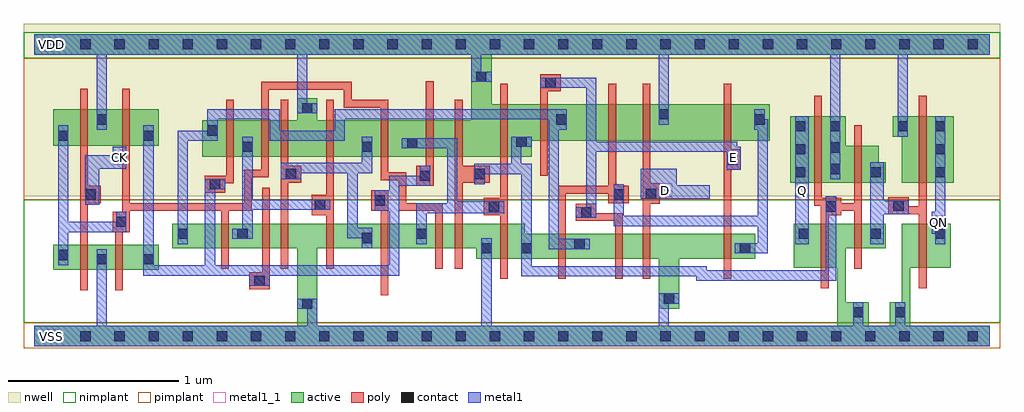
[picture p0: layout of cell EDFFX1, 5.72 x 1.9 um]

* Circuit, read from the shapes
.subckt EDFFX1 CK D E Q QN VDD VSS
M1 VSS CK n1 VSS nfet w=0.145u l=0.045u
M2 n2 n1 VSS VSS nfet w=0.145u l=0.045u
M3 n3 n1 n4 VSS nfet w=0.145u l=0.045u
M4 n5 n2 n3 VSS nfet w=0.145u l=0.045u
M5 VSS n6 n5 VSS nfet w=0.145u l=0.045u
M6 n6 n3 VSS VSS nfet w=0.145u l=0.045u
M7 n7 n2 n6 VSS nfet w=0.145u l=0.045u
M8 n8 n1 n7 VSS nfet w=0.145u l=0.045u
M9 VSS n9 n8 VSS nfet w=0.145u l=0.045u
M10 n9 n7 VSS VSS nfet w=0.205u l=0.045u
M11 n4 n10 n9 VSS nfet w=0.145u l=0.045u
M12 n11 E n4 VSS nfet w=0.145u l=0.045u
M13 VSS D n11 VSS nfet w=0.145u l=0.045u
M14 n10 E VSS VSS nfet w=0.145u l=0.045u
M15 VSS n9 Q VSS nfet w=0.26u l=0.045u
M16 n12 n9 VSS VSS nfet w=0.145u l=0.045u
M17 QN n12 VSS VSS nfet w=0.26u l=0.045u
M18 VDD CK n1 VDD pfet w=0.215u l=0.045u
M19 n2 n1 VDD VDD pfet w=0.215u l=0.045u
M20 n3 n2 n4 VDD pfet w=0.215u l=0.045u
M21 n13 n1 n3 VDD pfet w=0.215u l=0.045u
M22 VDD n6 n13 VDD pfet w=0.215u l=0.045u
M23 n6 n3 VDD VDD pfet w=0.215u l=0.045u
M24 n7 n1 n6 VDD pfet w=0.215u l=0.045u
M25 n14 n2 n7 VDD pfet w=0.215u l=0.045u
M26 VDD n9 n14 VDD pfet w=0.215u l=0.045u
M27 n9 n7 VDD VDD pfet w=0.31u l=0.045u
M28 n4 E n9 VDD pfet w=0.215u l=0.045u
M29 n15 n10 n4 VDD pfet w=0.215u l=0.045u
M30 VDD D n15 VDD pfet w=0.215u l=0.045u
M31 n10 E VDD VDD pfet w=0.215u l=0.045u
M32 VDD n9 Q VDD pfet w=0.39u l=0.045u
M33 n12 n9 VDD VDD pfet w=0.215u l=0.045u
M34 QN n12 VDD VDD pfet w=0.39u l=0.045u
.ends

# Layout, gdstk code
import gdstk
lib = gdstk.Library(unit=1e-6, precision=5e-10)
def R(c, l, rs):  # rectangles x0, y0, x1, y1
    for r in rs: c.add(gdstk.rectangle(r[:2], r[2:], *l))
def A(c, l, x, y, w, h, nx, ny, dx, dy):  # array of equal rectangles
    R(c, l, [(x+i*dx, y+j*dy, x+i*dx+w, y+j*dy+h) for i in range(nx) for j in range(ny)])
def P(c, l, *ps):  # polygons
    for p in ps: c.add(gdstk.Polygon(p, *l))
active = (1, 0)
nwell = (2, 0)
poly = (3, 0)
nimplant = (4, 0)
pimplant = (5, 0)
contact = (6, 0)
metal1 = (7, 0)
metal1_1 = (7, 1)

edffx1 = lib.new_cell('EDFFX1')
R(edffx1, active, [(0.11,0.39,0.73,0.535), (0.11,1.115,0.73,1.33)])
P(edffx1, active, [(0,1.77),(5.6,1.77),(5.6,1.65),(2.68,1.65),(2.68,1.36),(4.31,1.36),(4.31,1.145),(2.915,1.145),(2.915,1.05),(0.985,1.05),(0.985,1.265),(1.54,1.265),(1.54,1.395),(1.66,1.395),(1.66,1.265),(2.56,1.265),(2.56,1.65),(0,1.65)],
  [(5.03,1.29),(5.39,1.29),(5.39,0.9),(5.085,0.9),(5.085,1.17),(5.03,1.17)],
  [(4.43,1.29),(4.755,1.29),(4.755,1.115),(4.95,1.115),(4.95,1.02),(4.99,1.02),(4.99,0.9),(4.43,0.9)],
  [(0.81,0.66),(2.875,0.66),(2.875,0.6),(4.225,0.6),(4.225,0.455),(3.78,0.455),(3.78,0.16),(3.66,0.16),(3.66,0.455),(2.59,0.455),(2.59,0.515),(1.66,0.515),(1.66,0.06),(4.705,0.06),(4.705,0.4),(4.45,0.4),(4.45,0.66),(4.99,0.66),(4.99,0.515),(4.755,0.515),(4.755,0.2),(4.89,0.2),(4.89,0.06),(5.015,0.06),(5.015,0.2),(5.085,0.2),(5.085,0.66),(5.37,0.66),(5.37,0.4),(5.135,0.4),(5.135,0.06),(5.6,0.06),(5.6,-0.06),(0,-0.06),(0,0.06),(1.54,0.06),(1.54,0.515),(0.81,0.515)])
R(edffx1, nwell, [(-0.06,0.82,5.66,1.83)])
P(edffx1, poly, [(0.515,1.45),(0.56,1.45),(0.56,0.78),(1.23,0.78),(1.23,0.975),(1.33,0.975),(1.33,1.49),(1.86,1.49),(1.86,1.385),(2.075,1.385),(2.075,0.96),(2.18,0.96),(2.18,0.78),(2.395,0.78),(2.395,0.395),(2.35,0.395),(2.35,0.735),(2.135,0.735),(2.135,0.915),(2.03,0.915),(2.03,1.34),(1.815,1.34),(1.815,1.445),(1.375,1.445),(1.375,0.93),(1.275,0.93),(1.275,0.735),(1.14,0.735),(1.14,0.395),(1.095,0.395),(1.095,0.735),(0.56,0.735),(0.56,0.61),(0.52,0.61),(0.52,0.27),(0.475,0.27),(0.475,0.61),(0.46,0.61),(0.46,0.73),(0.515,0.73)],
  [(1.125,1.385),(1.17,1.385),(1.17,0.895),(1.12,0.895),(1.12,0.84),(1,0.84),(1,0.94),(1.125,0.94)],
  [(1.445,1.385),(1.49,1.385),(1.49,1),(1.565,1),(1.565,0.9),(1.49,0.9),(1.49,0.395),(1.445,0.395)],
  [(0.27,1.45),(0.315,1.45),(0.315,0.88),(0.39,0.88),(0.39,0.78),(0.315,0.78),(0.315,0.27),(0.27,0.27)],
  [(1.71,1.385),(1.755,1.385),(1.755,0.395),(1.71,0.395),(1.71,0.71),(1.625,0.71),(1.625,0.83),(1.71,0.83)],
  [(2.295,1.495),(2.34,1.495),(2.34,0.88),(2.24,0.88),(2.24,1),(2.295,1)],
  [(2.465,1.385),(2.51,1.385),(2.51,1),(2.67,1),(2.67,0.9),(2.51,0.9),(2.51,0.395),(2.465,0.395)],
  [(2.73,1.48),(2.775,1.48),(2.775,0.335),(2.73,0.335),(2.73,0.71),(2.635,0.71),(2.635,0.81),(2.73,0.81)],
  [(2.965,1.535),(3.085,1.535),(3.085,1.435),(3.01,1.435),(3.01,0.94),(2.965,0.94)],
  [(5.005,0.815),(5.125,0.815),(5.125,0.76),(5.185,0.76),(5.185,1.41),(5.23,1.41),(5.23,0.28),(5.185,0.28),(5.185,0.715),(5.005,0.715)],
  [(1.975,0.855),(2.075,0.855),(2.075,0.24),(2.03,0.24),(2.03,0.735),(1.975,0.735)],
  [(3.365,1.48),(3.41,1.48),(3.41,0.88),(3.485,0.88),(3.485,0.78),(3.365,0.78),(3.365,0.835),(3.115,0.835),(3.115,0.335),(3.07,0.335),(3.07,0.88),(3.365,0.88)],
  [(3.565,1.48),(3.61,1.48),(3.61,0.895),(3.665,0.895),(3.665,0.775),(3.61,0.775),(3.61,0.335),(3.565,0.335)],
  [(4.04,1.48),(4.085,1.48),(4.085,1.095),(4.14,1.095),(4.14,0.975),(4.085,0.975),(4.085,0.335),(4.04,0.335)],
  [(4.57,1.41),(4.615,1.41),(4.615,0.81),(4.73,0.81),(4.73,0.78),(4.805,0.78),(4.805,1.235),(4.85,1.235),(4.85,0.395),(4.805,0.395),(4.805,0.735),(4.73,0.735),(4.73,0.71),(4.655,0.71),(4.655,0.28),(4.61,0.28),(4.61,0.765),(4.57,0.765)],
  [(1.335,0.87),(1.38,0.87),(1.38,0.275),(1.26,0.275),(1.26,0.375),(1.335,0.375)],
  [(3.175,0.775),(3.295,0.775),(3.295,0.72),(3.45,0.72),(3.45,0.335),(3.405,0.335),(3.405,0.675),(3.175,0.675)])
R(edffx1, nimplant, [(-0.06,0.08,5.66,0.8), (-0.06,1.63,5.66,1.78)])
R(edffx1, pimplant, [(-0.06,-0.07,5.66,0.08), (-0.06,0.8,5.66,1.63)])
A(edffx1, contact, 0.07, -0.03, 0.06, 0.06, 28, 2, 0.2, 1.71)
A(edffx1, contact, 4.46, 0.93, 0.06, 0.06, 1, 3, 0, 0.135)
A(edffx1, contact, 5.28, 0.93, 0.06, 0.06, 1, 3, 0, 0.135)
A(edffx1, contact, 4.665, 0.95, 0.06, 0.06, 1, 3, 0, 0.125)
R(edffx1, contact, [(4.8,0.11,4.86,0.17), (5.045,0.11,5.105,0.17), (1.57,0.16,1.63,0.22), (3.69,0.19,3.75,0.25), (1.29,0.295,1.35,0.355), (0.365,0.42,0.425,0.48), (0.64,0.42,0.7,0.48), (0.14,0.445,0.2,0.505), (2.62,0.485,2.68,0.545), (2.855,0.485,2.915,0.545), (4.135,0.485,4.195,0.545), (3.165,0.51,3.225,0.57), (1.92,0.545,1.98,0.605), (0.84,0.57,0.9,0.63), (1.19,0.57,1.25,0.63), (2.24,0.57,2.3,0.63), (4.48,0.57,4.54,0.63), (4.9,0.57,4.96,0.63), (5.28,0.57,5.34,0.63), (0.48,0.64,0.54,0.7), (3.205,0.695,3.265,0.755), (2.665,0.73,2.725,0.79), (4.64,0.73,4.7,0.79), (5.035,0.735,5.095,0.795), (1.645,0.74,1.705,0.8), (1.995,0.765,2.055,0.825), (0.3,0.8,0.36,0.86), (3.395,0.8,3.455,0.86), (3.585,0.805,3.645,0.865), (1.03,0.86,1.09,0.92), (2.26,0.91,2.32,0.97), (1.475,0.92,1.535,0.98), (2.58,0.92,2.64,0.98), (4.9,0.93,4.96,0.99), (4.06,1.005,4.12,1.065), (1.22,1.08,1.28,1.14), (1.92,1.08,1.98,1.14), (2.185,1.1,2.245,1.16), (2.825,1.11,2.885,1.17), (0.14,1.145,0.2,1.205), (0.64,1.145,0.7,1.205), (1.015,1.175,1.075,1.235), (5.06,1.2,5.12,1.26), (0.365,1.24,0.425,1.3), (3.06,1.24,3.12,1.3), (4.22,1.24,4.28,1.3), (3.66,1.27,3.72,1.33), (1.57,1.305,1.63,1.365), (2.995,1.455,3.055,1.515), (2.59,1.49,2.65,1.55)])
R(edffx1, metal1, [(4.46,0.54,4.54,1.29)])
P(edffx1, metal1, [(0,1.77),(5.6,1.77),(5.6,1.65),(5.12,1.65),(5.12,1.17),(5.06,1.17),(5.06,1.65),(4.725,1.65),(4.725,0.92),(4.665,0.92),(4.665,1.65),(3.72,1.65),(3.72,1.24),(3.66,1.24),(3.66,1.65),(2.62,1.65),(2.62,1.55),(2.68,1.55),(2.68,1.49),(2.56,1.49),(2.56,1.65),(1.6,1.65),(1.6,1.365),(1.66,1.365),(1.66,1.305),(1.54,1.305),(1.54,1.65),(0.425,1.65),(0.425,1.21),(0.365,1.21),(0.365,1.65),(0,1.65)],
  [(1.015,1.33),(1.44,1.33),(1.44,1.205),(1.76,1.205),(1.76,1.33),(3.12,1.33),(3.12,1.21),(3.075,1.21),(3.075,0.57),(3.255,0.57),(3.255,0.51),(3.015,0.51),(3.015,1.27),(1.82,1.27),(1.82,1.145),(1.38,1.145),(1.38,1.27),(1.075,1.27),(1.075,1.145),(0.9,1.145),(0.9,0.54),(0.84,0.54),(0.84,1.205),(1.015,1.205)],
  [(0.14,1.235),(0.2,1.235),(0.2,0.67),(0.48,0.67),(0.48,0.73),(0.54,0.73),(0.54,0.61),(0.2,0.61),(0.2,0.415),(0.14,0.415)],
  [(1.22,1.17),(1.28,1.17),(1.28,0.8),(1.735,0.8),(1.735,0.74),(1.28,0.74),(1.28,0.57),(1.16,0.57),(1.16,0.63),(1.22,0.63)],
  [(0.64,1.235),(0.7,1.235),(0.7,0.415),(1,0.415),(1,0.92),(1.12,0.92),(1.12,0.86),(1.06,0.86),(1.06,0.415),(2.08,0.415),(2.08,0.735),(1.995,0.735),(1.995,0.855),(2.08,0.855),(2.08,0.94),(2.26,0.94),(2.26,1),(2.32,1),(2.32,0.88),(2.14,0.88),(2.14,0.355),(1.38,0.355),(1.38,0.295),(1.26,0.295),(1.26,0.355),(0.64,0.355)],
  [(0.46,1.11),(0.54,1.11),(0.54,0.98),(0.38,0.98),(0.38,0.77),(0.3,0.77),(0.3,1.06),(0.46,1.06)],
  [(0.365,0.51),(0.425,0.51),(0.425,0.06),(1.6,0.06),(1.6,0.16),(1.54,0.16),(1.54,0.22),(1.66,0.22),(1.66,0.06),(2.62,0.06),(2.62,0.575),(2.68,0.575),(2.68,0.06),(3.66,0.06),(3.66,0.25),(3.78,0.25),(3.78,0.19),(3.72,0.19),(3.72,0.06),(4.8,0.06),(4.8,0.2),(4.86,0.2),(4.86,0.06),(5.045,0.06),(5.045,0.2),(5.105,0.2),(5.105,0.06),(5.6,0.06),(5.6,-0.06),(0,-0.06),(0,0.06),(0.365,0.06)],
  [(2.965,1.515),(3.295,1.515),(3.295,1.14),(4.12,1.14),(4.12,1.11),(4.14,1.11),(4.14,0.975),(4.06,0.975),(4.06,1.08),(3.295,1.08),(3.295,0.695),(3.175,0.695),(3.175,0.755),(3.235,0.755),(3.235,1.455),(2.965,1.455)],
  [(1.92,1.17),(1.98,1.17),(1.98,0.955),(1.895,0.955),(1.895,0.635),(1.98,0.635),(1.98,0.515),(1.92,0.515),(1.92,0.575),(1.835,0.575),(1.835,0.955),(1.565,0.955),(1.565,0.92),(1.445,0.92),(1.445,1.015),(1.92,1.015)],
  [(2.155,1.16),(2.48,1.16),(2.48,0.79),(2.755,0.79),(2.755,0.72),(2.3,0.72),(2.3,0.54),(2.24,0.54),(2.24,0.78),(2.42,0.78),(2.42,1.1),(2.155,1.1)],
  [(2.795,1.17),(2.915,1.17),(2.915,1.11),(2.855,1.11),(2.855,1.01),(2.915,1.01),(2.915,0.41),(3.94,0.41),(3.94,0.385),(4.64,0.385),(4.64,0.82),(4.7,0.82),(4.7,0.325),(3.88,0.325),(3.88,0.35),(2.855,0.35),(2.855,0.95),(2.64,0.95),(2.64,0.89),(2.58,0.89),(2.58,1.01),(2.795,1.01)],
  [(4.22,1.33),(4.28,1.33),(4.28,1.27),(4.3,1.27),(4.3,0.485),(4.105,0.485),(4.105,0.545),(4.24,0.545),(4.24,0.645),(3.395,0.645),(3.395,0.89),(3.455,0.89),(3.455,0.705),(4.24,0.705),(4.24,1.21),(4.22,1.21)],
  [(3.555,0.98),(3.765,0.98),(3.765,0.885),(3.96,0.885),(3.96,0.805),(3.555,0.805)],
  [(5.28,1.29),(5.34,1.29),(5.34,0.54),(5.28,0.54),(5.28,0.6),(5.26,0.6),(5.26,0.73),(5.28,0.73)],
  [(4.9,1.02),(4.98,1.02),(4.98,0.795),(5.125,0.795),(5.125,0.715),(4.98,0.715),(4.98,0.54),(4.9,0.54)])
R(edffx1, metal1_1, [(0.06,-0.04,0.14,0.04), (5.26,0.625,5.34,0.705), (3.66,0.815,3.74,0.895), (4.46,0.815,4.54,0.895), (0.46,1.005,0.54,1.085), (4.06,1.005,4.14,1.085), (0.06,1.67,0.14,1.75)])
edffx1.add(gdstk.Label('QN', (5.3,0.665), layer=7, texttype=1))
edffx1.add(gdstk.Label('Q', (4.5,0.855), layer=7, texttype=1))
edffx1.add(gdstk.Label('E', (4.1,1.045), layer=7, texttype=1))
edffx1.add(gdstk.Label('D', (3.7,0.855), layer=7, texttype=1))
edffx1.add(gdstk.Label('CK', (0.5,1.045), layer=7, texttype=1))
edffx1.add(gdstk.Label('VDD', (0.1,1.71), layer=7, texttype=1))
edffx1.add(gdstk.Label('VSS', (0.1,0), layer=7, texttype=1))
edffx1.add(gdstk.Label('EDFFX1', (0,0), layer=63, texttype=0))

lib.write_gds('EDFFX1.gds')
